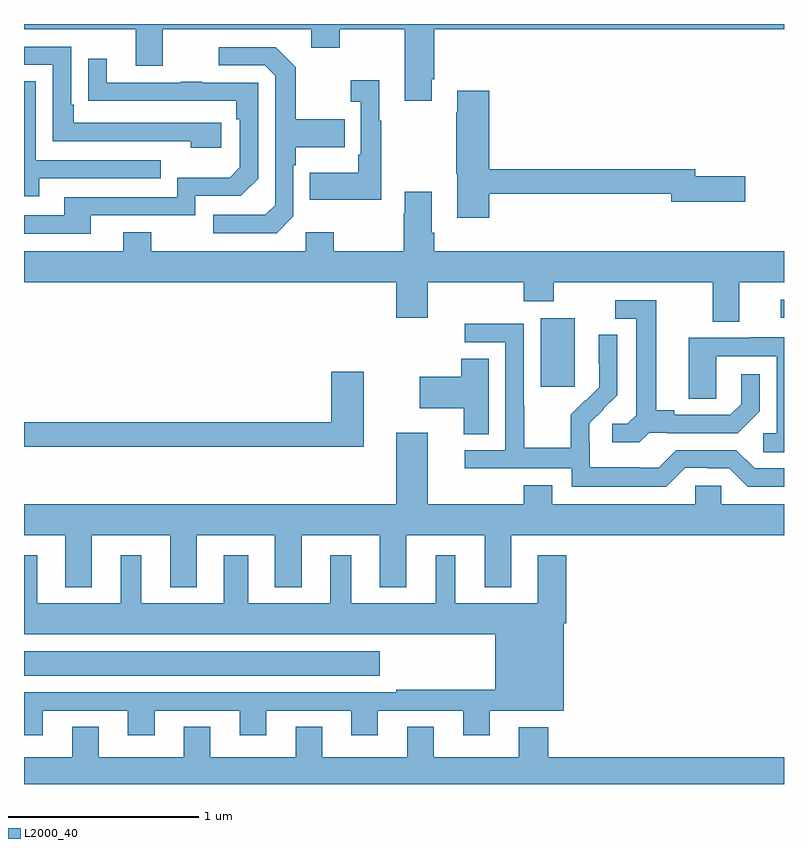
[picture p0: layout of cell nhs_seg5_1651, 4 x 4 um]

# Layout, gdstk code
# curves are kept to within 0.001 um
import gdstk
lib = gdstk.Library(unit=1e-6, precision=1e-09)
def R(c, l, rs):  # rectangles x0, y0, x1, y1
    for r in rs: c.add(gdstk.rectangle(r[:2], r[2:], *l))
def P(c, l, *ps):  # polygons
    for p in ps: c.add(gdstk.Polygon(p, *l))
L2000_40 = (2000, 40)

nhs_seg5_1651 = lib.new_cell('nhs_seg5_1651')
R(nhs_seg5_1651, L2000_40, [(211,841.37,212.872,841.498), (213.719,842.889,213.898,843.25), (214.983,843.252,215,843.348)])
P(nhs_seg5_1651, L2000_40, [(213.145,844.507),(213.158,844.507),(213.158,844.772),(215,844.772),(215,844.799),(211,844.799),(211,844.772),(211.589,844.772),(211.589,844.578),(211.729,844.578),(211.729,844.772),(212.513,844.772),(212.513,844.673),(212.661,844.673),(212.661,844.772),(213.005,844.772),(213.005,844.395),(213.145,844.395)],
  [(212.038,844.278),(211.261,844.278),(211.261,844.375),(211.248,844.375),(211.248,844.68),(211,844.68),(211,844.584),(211.152,844.584),(211.152,844.182),(211.877,844.182),(211.877,844.148),(212.038,844.148)],
  [(212.418,843.786),(212.418,844.055),(212.431,844.055),(212.431,844.151),(212.687,844.151),(212.687,844.299),(212.431,844.299),(212.431,844.571),(212.325,844.677),(212.025,844.677),(212.025,844.581),(212.268,844.581),(212.322,844.527),(212.322,843.846),(212.271,843.795),(211.995,843.795),(211.995,843.699),(212.331,843.699)],
  [(211.351,843.792),(211.902,843.792),(211.902,843.894),(212.142,843.894),(212.232,843.984),(212.232,844.491),(211.937,844.491),(211.937,844.496),(211.825,844.496),(211.825,844.491),(211.435,844.491),(211.435,844.615),(211.339,844.615),(211.339,844.396),(212.116,844.395),(212.116,844.298),(212.136,844.298),(212.136,844.044),(212.083,843.991),(211.806,843.991),(211.806,843.888),(211.211,843.888),(211.211,843.792),(211,843.792),(211,843.696),(211.351,843.696)],
  [(212.881,844.291),(212.869,844.291),(212.869,844.504),(212.721,844.504),(212.721,844.391),(212.772,844.391),(212.772,844.111),(212.76,844.111),(212.76,844.015),(212.503,844.015),(212.503,843.875),(212.881,843.875)],
  [(211.081,843.987),(211.721,843.987),(211.721,844.083),(211.062,844.083),(211.062,844.499),(211,844.499),(211,843.893),(211.081,843.893)],
  [(213.449,843.906),(214.406,843.906),(214.406,843.863),(214.795,843.863),(214.795,843.998),(214.534,843.998),(214.534,844.034),(213.449,844.034),(213.449,844.447),(213.281,844.447),(213.281,844.334),(213.274,844.334),(213.274,844.011),(213.281,844.011),(213.281,843.78),(213.449,843.78)],
  [(213.005,843.916),(213.005,843.803),(212.998,843.803),(212.998,843.604),(212.631,843.604),(212.631,843.703),(212.484,843.703),(212.484,843.604),(211.671,843.604),(211.671,843.703),(211.523,843.703),(211.523,843.604),(211,843.604),(211,843.44),(212.96,843.44),(212.96,843.252),(213.124,843.252),(213.124,843.44),(213.629,843.44),(213.629,843.341),(213.789,843.341),(213.789,843.44),(214.625,843.44),(214.625,843.232),(214.765,843.232),(214.765,843.44),(215,843.44),(215,843.604),(213.158,843.604),(213.158,843.7),(213.145,843.7),(213.145,843.916)],
  [(214.29,842.649),(214.384,842.649),(214.384,842.646),(214.756,842.646),(214.872,842.762),(214.872,842.956),(214.775,842.956),(214.775,842.799),(214.718,842.742),(214.423,842.742),(214.423,842.765),(214.327,842.765),(214.327,843.345),(214.113,843.345),(214.113,843.249),(214.223,843.249),(214.223,842.741),(214.176,842.694),(214.095,842.694),(214.095,842.597),(214.238,842.597)],
  [(214.479,842.463),(214.595,842.463),(214.595,842.46),(214.713,842.46),(214.809,842.364),(215,842.364),(215,842.46),(214.845,842.46),(214.749,842.556),(214.434,842.556),(214.341,842.463),(214.241,842.463),(214.241,842.467),(213.978,842.467),(213.978,842.601),(213.976,842.601),(213.976,842.698),(214.122,842.846),(214.122,843.164),(214.026,843.164),(214.026,843.01),(214.028,843.01),(214.028,842.888),(213.957,842.817),(213.954,842.82),(213.877,842.743),(213.877,842.569),(213.633,842.569),(213.633,842.792),(213.63,842.792),(213.63,843.222),(213.321,843.222),(213.321,843.123),(213.534,843.123),(213.534,842.556),(213.321,842.556),(213.321,842.46),(213.882,842.46),(213.882,842.363),(214.379,842.363)],
  [(215,843.151),(214.823,843.151),(214.823,843.147),(214.499,843.147),(214.499,842.827),(214.644,842.827),(214.644,843.051),(214.962,843.051),(214.962,842.646),(214.89,842.646),(214.89,842.545),(215,842.545)],
  [(213.445,843.038),(213.302,843.038),(213.302,842.943),(213.084,842.943),(213.084,842.777),(213.314,842.777),(213.314,842.641),(213.445,842.641)],
  [(212.788,842.968),(212.618,842.968),(212.618,842.702),(211,842.702),(211,842.574),(212.788,842.574)],
  [(211.357,842.108),(211.769,842.108),(211.769,841.835),(211.909,841.835),(211.909,842.108),(212.321,842.108),(212.321,841.835),(212.461,841.835),(212.461,842.108),(212.873,842.108),(212.873,841.835),(213.013,841.835),(213.013,842.108),(213.425,842.108),(213.425,841.835),(213.565,841.835),(213.565,842.108),(215,842.108),(215,842.272),(214.671,842.272),(214.671,842.37),(214.533,842.37),(214.533,842.272),(213.781,842.272),(213.781,842.371),(213.629,842.371),(213.629,842.272),(213.124,842.272),(213.124,842.647),(212.96,842.647),(212.96,842.272),(211,842.272),(211,842.108),(211.217,842.108),(211.217,841.835),(211.357,841.835)],
  [(211.099,841.185),(211.547,841.185),(211.547,841.056),(211.687,841.056),(211.687,841.185),(212.135,841.185),(212.135,841.056),(212.275,841.056),(212.275,841.185),(212.723,841.185),(212.723,841.056),(212.863,841.056),(212.863,841.185),(213.311,841.185),(213.311,841.056),(213.451,841.056),(213.451,841.184),(213.841,841.184),(213.841,841.646),(213.854,841.646),(213.854,842.002),(213.704,842.002),(213.704,841.75),(213.271,841.75),(213.271,842.002),(213.167,842.002),(213.167,841.75),(212.722,841.75),(212.722,842.002),(212.612,842.002),(212.612,841.75),(212.179,841.75),(212.179,842.002),(212.051,842.002),(212.051,841.75),(211.618,841.75),(211.618,842.002),(211.508,842.002),(211.508,841.75),(211.069,841.75),(211.069,842.002),(211,842.002),(211,841.586),(213.479,841.586),(213.479,841.294),(212.959,841.294),(212.959,841.281),(211,841.281),(211,841.056),(211.099,841.056)],
  [(215,840.94),(213.758,840.94),(213.758,841.099),(213.605,841.099),(213.605,840.94),(213.157,840.94),(213.157,841.1),(213.017,841.1),(213.017,840.94),(212.569,840.94),(212.569,841.1),(212.429,841.1),(212.429,840.94),(211.981,840.94),(211.981,841.1),(211.841,841.1),(211.841,840.94),(211.393,840.94),(211.393,841.1),(211.253,841.1),(211.253,840.94),(211,840.94),(211,840.799),(215,840.799)])

lib.write_gds('nhs_seg5_1651.gds')
